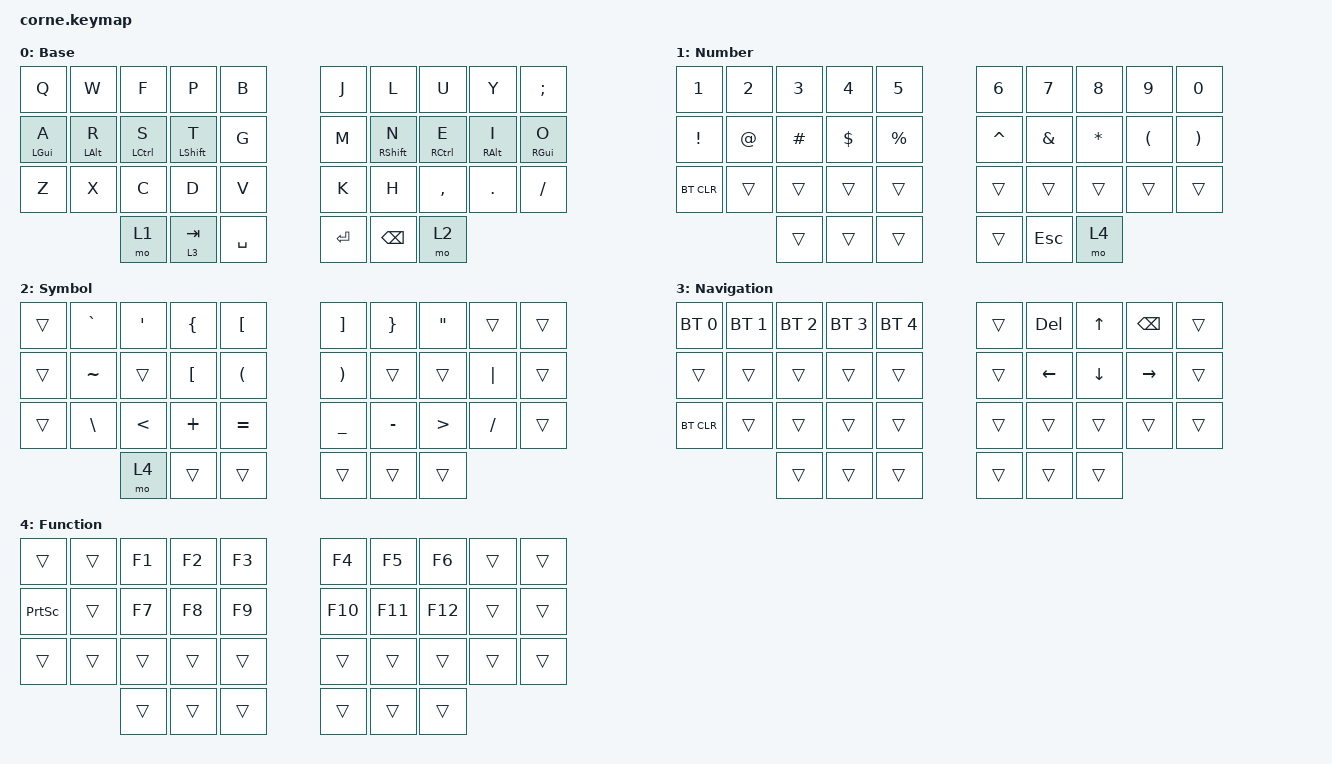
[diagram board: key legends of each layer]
/*
 * Copyright (c) 2020 The ZMK Contributors
 *
 * SPDX-License-Identifier: MIT
 */

#include <behaviors.dtsi>
#include <dt-bindings/zmk/keys.h>
#include <dt-bindings/zmk/bt.h>

#define DEFAULT     0
#define NUMBER      1
#define SYMBOL      2 
#define NAVIGATION  3
#define FUNTION     4

#define AS(keycode) &as LS(keycode) keycode

/ {
    chosen {
      zmk,matrix_transform = &five_column_transform;
    };

    behaviors {
        hm: home_row_mods {
                compatible = "zmk,behavior-hold-tap";
                label = "HOME_ROW_MODS";
                #binding-cells = <2>;
                tapping-term-ms = <400>;
                quick_tap_ms = <0>;
                flavor = "tap-preferred";
                bindings = <&kp>, <&kp>;
        };
        
    };
        keymap {
                compatible = "zmk,keymap";

                default_layer {
// -----------------------------------------------------------------------------------------
// |  Q  |  W  |  F  |  P  |  B  |     |  J  |   L  |  U   |  Y   | ; |
// |  A  |  R  |  S  |  T  |  G  |     |  M  |   N  |  E   |  I   | O | 
// |  Z  |  X  |  C  |  D  |  V  |     |  K  |   H  |  ,   |  .   | / |
//             | NUM |TAB/3| SPC |     | ENT | BSPC | SMBL |
                        display-name = "Base";
                        bindings = <
   &kp Q &kp W &kp F &kp P &kp B     &kp J   &kp L  &kp U     &kp Y     &kp SEMI
   &hm LGUI A &hm LALT R &hm LCTRL S &hm LSHFT T &kp G     &kp M   &hm RSHFT N  &hm RCTRL E     &hm RALT I     &hm RGUI O
   &kp Z &kp X &kp C &kp D &kp V     &kp K   &kp H  &kp COMMA  &kp DOT  &kp FSLH
        &mo 1 &lt 3 TAB &kp SPACE     &kp RET &kp BSPC  &mo 2
                        >;
                };

                number_layer {
// -----------------------------------------------------------------------------------------
// |  1!   | 2@  |  3# |  4$ |  5% |     |  6^ |  7& |  8* |  9( |  0) |
// |   !   |  @  |  #  |  $  |  %  |     |  ^  |  &  |  *  |  (  |  )  |
// |       |     |     |     |     |     |     |     |     |     |     |
//               |     |     |     |     |     | ESC |FUNCT|
                        display-name = "Number";
                        bindings = <
   &kp N1      &kp N2    &kp N3     &kp N4     &kp N5       &kp N6     &kp N7    &kp N8    &kp N9   &kp N0
   &kp EXCL    &kp AT    &kp HASH   &kp DLLR   &kp PRCNT    &kp CARET  &kp AMPS  &kp ASTRK &kp LPAR &kp RPAR
   &bt BT_CLR  &trans    &trans     &trans     &trans       &trans     &trans    &trans    &trans   &trans 
                         &trans     &trans     &trans       &trans     &kp ESC   &mo 4
                        >;
                };

                symbol_layer {
// -----------------------------------------------------------------------------------------
// |    |  `  |  '  |  {  |  [  |/////|  ]  |  }  |  "  |      |      |
// |    |  ~  |     |     |  (  |     |  )  |     |     |   |  |      |
// |    |  \  |  <  |  +  |  =  |     |  _  |  -  |  >  |   /  |      |
//            |FUNCT|     |     |/////|     |     |     |
                        display-name = "Symbol";
                        bindings = <

   &trans   &kp GRAVE  &kp SQT  &kp LBRC  &kp LBKT      &kp RBKT   &kp RBRC   &kp DQT  &trans   &trans
   &trans   &kp TILDE  &trans   &kp LBKT  &kp LPAR      &kp RPAR   &trans     &trans   &kp PIPE &trans
   &trans   &kp BSLH   &kp LT   &kp PLUS  &kp EQUAL     &kp UNDER  &kp MINUS  &kp GT   &kp FSLH &trans
                       &mo 4    &trans    &trans        &trans    &trans    &trans
                        >;
                };
        
                navigation_layer {
// -----------------------------------------------------------------------------------------
// | BT1 | BT2 | BT3 | BT4 | BT5 |     |     |  DEL |  UP  | BKSPC|   |
// |     |     |     |     |     |     |     | LEFT | DOWN | RIGHT|   | 
// |BTCLR|     |     |     |     |     |     |      |      |      |   |
//             |     |     |     |     |     |      |      |
                        display-name = "Navigation";
                        bindings = <
   &bt BT_SEL 0   &bt BT_SEL 1  &bt BT_SEL 2  &bt BT_SEL 3  &bt BT_SEL 4  &trans  &kp DEL   &kp UP   &kp BSPC  &trans
   &trans         &trans        &trans        &trans        &trans        &trans  &kp LEFT  &kp DOWN &kp RIGHT &trans 
   &bt BT_CLR     &trans        &trans        &trans        &trans        &trans  &trans    &trans   &trans    &trans 
                                &trans        &trans        &trans        &trans  &trans    &trans
                        >;
                };
                function_layer {
// -----------------------------------------------------------------------------------------
// |     |     |  F1 | F2  |  F3 |     |  F4 |  F5  |  F6  |      |   |
// |PRTSC|     |  F7 | F8  |  F9 |     | F10 | F11  |  F12 |      |   | 
// |     |     |     |     |     |     |     |      |      |      |   |
//             |     |     |     |     |     |      |      |
                        display-name = "Function";
                        bindings = <
   &trans     &trans  &kp F1  &kp F2  &kp F3  &kp F4   &kp F5    &kp F6   &trans  &trans
   &kp PSCRN  &trans  &kp F7  &kp F8  &kp F9  &kp F10  &kp F11   &kp F12  &trans  &trans 
   &trans     &trans  &trans  &trans  &trans  &trans   &trans    &trans   &trans  &trans 
                      &trans  &trans  &trans  &trans   &trans    &trans
                        >;
                };
        };
};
